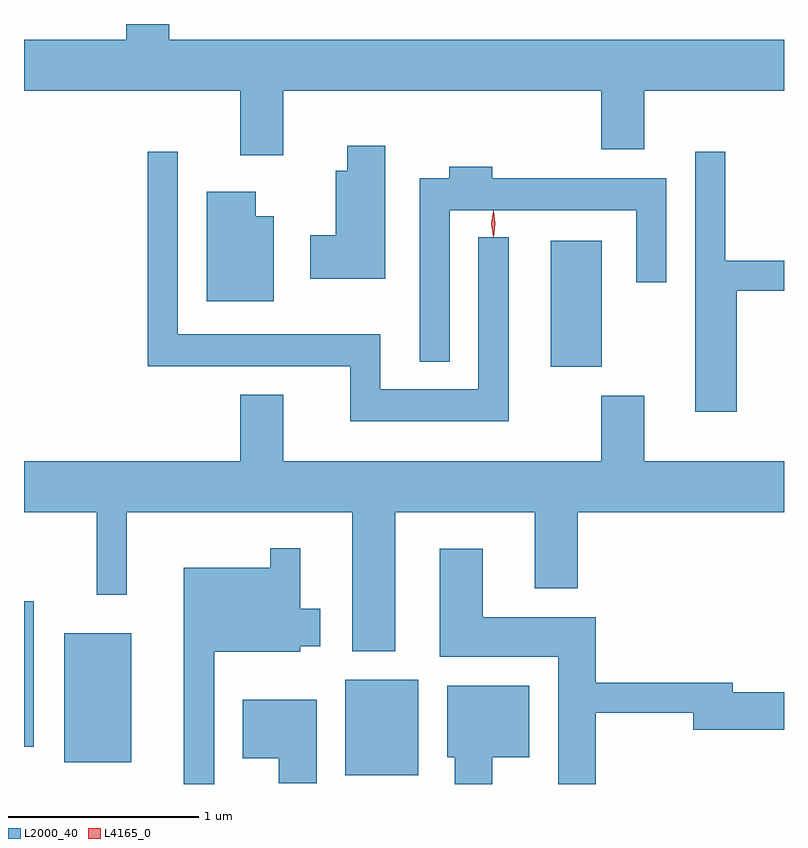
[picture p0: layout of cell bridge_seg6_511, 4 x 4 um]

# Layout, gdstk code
import gdstk
lib = gdstk.Library(unit=1e-6, precision=1e-09)
def R(c, l, rs):  # rectangles x0, y0, x1, y1
    for r in rs: c.add(gdstk.rectangle(r[:2], r[2:], *l))
def P(c, l, *ps):  # polygons
    for p in ps: c.add(gdstk.Polygon(p, *l))
L2000_40 = (2000, 40)
L4165_0 = (4165, 0)

bridge_seg6_511 = lib.new_cell('bridge_seg6_511')
R(bridge_seg6_511, L2000_40, [(552.356,1633.011,552.739,1633.514), (550.876,1633.081,551.229,1633.759), (550.664,1633.161,550.714,1633.929), (553.436,1635.161,553.704,1635.824)])
P(bridge_seg6_511, L2000_40, [(552.029,1636.616),(553.701,1636.616),(553.701,1636.306),(553.929,1636.306),(553.929,1636.616),(554.664,1636.616),(554.664,1636.884),(551.429,1636.884),(551.429,1636.966),(551.201,1636.966),(551.201,1636.884),(550.664,1636.884),(550.664,1636.616),(551.801,1636.616),(551.801,1636.276),(552.029,1636.276)],
  [(552.564,1636.324),(552.366,1636.324),(552.366,1636.194),(552.306,1636.194),(552.306,1635.854),(552.171,1635.854),(552.171,1635.626),(552.564,1635.626)],
  [(554.414,1635.561),(554.664,1635.561),(554.664,1635.719),(554.354,1635.719),(554.354,1636.293),(554.196,1636.293),(554.196,1634.926),(554.414,1634.926)],
  [(553.214,1635.843),(553.056,1635.843),(553.056,1635.044),(552.539,1635.044),(552.539,1635.334),(551.474,1635.334),(551.474,1636.293),(551.316,1636.293),(551.316,1635.166),(552.381,1635.166),(552.381,1634.876),(553.214,1634.876)],
  [(552.904,1635.986),(553.886,1635.986),(553.886,1635.608),(554.044,1635.608),(554.044,1636.154),(553.129,1636.154),(553.129,1636.214),(552.901,1636.214),(552.901,1636.154),(552.746,1636.154),(552.746,1635.188),(552.904,1635.188)],
  [(551.979,1635.954),(551.884,1635.954),(551.884,1636.084),(551.626,1636.084),(551.626,1635.506),(551.979,1635.506)],
  [(552.029,1635.014),(551.801,1635.014),(551.801,1634.664),(550.664,1634.664),(550.664,1634.396),(551.046,1634.396),(551.046,1633.963),(551.204,1633.963),(551.204,1634.396),(552.391,1634.396),(552.391,1633.666),(552.619,1633.666),(552.619,1634.396),(553.351,1634.396),(553.351,1633.996),(553.579,1633.996),(553.579,1634.396),(554.664,1634.396),(554.664,1634.664),(553.929,1634.664),(553.929,1635.009),(553.701,1635.009),(553.701,1634.664),(552.029,1634.664)],
  [(551.664,1633.661),(552.119,1633.661),(552.119,1633.691),(552.224,1633.691),(552.224,1633.889),(552.119,1633.889),(552.119,1634.208),(551.961,1634.208),(551.961,1634.104),(551.506,1634.104),(551.506,1632.966),(551.664,1632.966)],
  [(553.674,1633.341),(554.186,1633.341),(554.186,1633.251),(554.664,1633.251),(554.664,1633.449),(554.394,1633.449),(554.394,1633.499),(553.674,1633.499),(553.674,1633.844),(553.079,1633.844),(553.079,1634.204),(552.851,1634.204),(552.851,1633.636),(553.476,1633.636),(553.476,1632.966),(553.674,1632.966)],
  [(553.129,1633.106),(553.324,1633.106),(553.324,1633.484),(552.891,1633.484),(552.891,1633.106),(552.931,1633.106),(552.931,1632.966),(553.129,1632.966)],
  [(552.204,1633.409),(551.816,1633.409),(551.816,1633.101),(552.006,1633.101),(552.006,1632.971),(552.204,1632.971)])
P(bridge_seg6_511, L4165_0, [(553.134,1635.847),(553.134,1635.848),(553.124,1635.914),(553.134,1635.98),(553.134,1635.981),(553.135,1635.98),(553.144,1635.914),(553.135,1635.848)],
  [(553.135,1635.844),(553.135,1635.844),(553.125,1635.914),(553.135,1635.983),(553.135,1635.983),(553.136,1635.983),(553.145,1635.914),(553.136,1635.844)])

lib.write_gds('bridge_seg6_511.gds')
